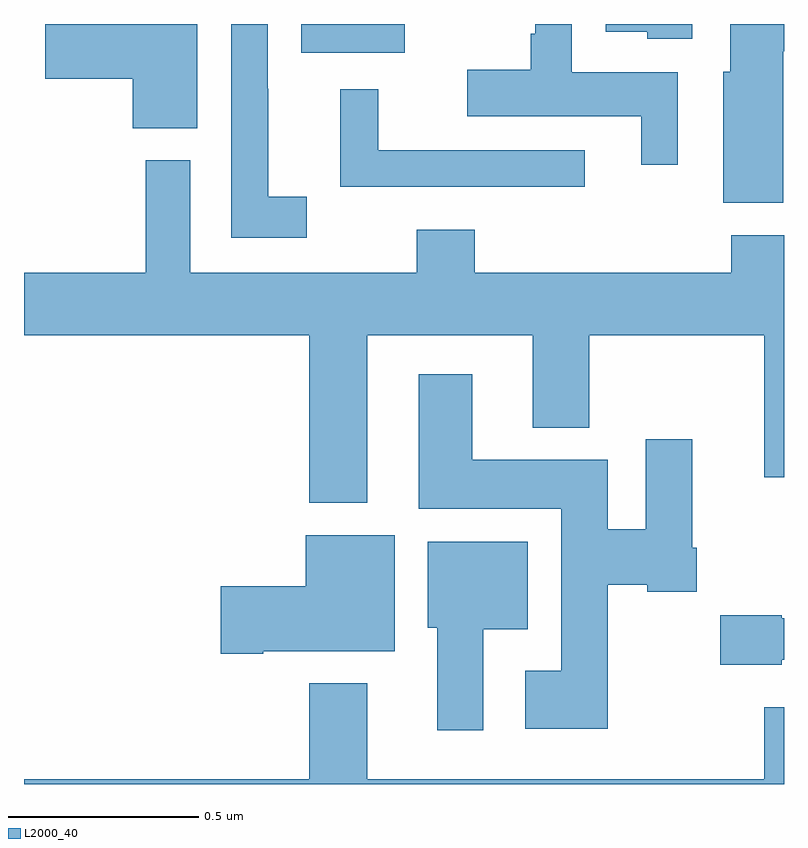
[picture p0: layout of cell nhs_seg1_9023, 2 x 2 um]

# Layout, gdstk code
import gdstk
lib = gdstk.Library(unit=1e-6, precision=1e-09)
def R(c, l, rs):  # rectangles x0, y0, x1, y1
    for r in rs: c.add(gdstk.rectangle(r[:2], r[2:], *l))
def P(c, l, *ps):  # polygons
    for p in ps: c.add(gdstk.Polygon(p, *l))
L2000_40 = (2000, 40)

nhs_seg1_9023 = lib.new_cell('nhs_seg1_9023')
R(nhs_seg1_9023, L2000_40, [(223.73,571.124,224.002,571.199)])
P(nhs_seg1_9023, L2000_40, [(224.721,571.072),(224.442,571.072),(224.442,571.199),(224.346,571.199),(224.346,571.174),(224.334,571.174),(224.334,571.078),(224.166,571.078),(224.166,570.956),(224.624,570.956),(224.624,570.828),(224.721,570.828)],
  [(223.744,570.745),(223.643,570.745),(223.643,571.028),(223.641,571.028),(223.641,571.199),(223.545,571.199),(223.545,570.636),(223.744,570.636)],
  [(223.456,571.199),(223.056,571.199),(223.056,571.055),(223.286,571.055),(223.286,570.925),(223.456,570.925)],
  [(224.998,571.127),(225,571.127),(225,571.199),(224.858,571.199),(224.858,571.074),(224.84,571.074),(224.84,570.728),(224.998,570.728)],
  [(224.758,571.199),(224.531,571.199),(224.531,571.178),(224.64,571.178),(224.64,571.16),(224.758,571.16)],
  [(224.476,570.867),(223.932,570.867),(223.932,571.027),(223.832,571.027),(223.832,570.771),(224.476,570.771)],
  [(223.903,570.38),(224.339,570.38),(224.339,570.137),(224.487,570.137),(224.487,570.38),(224.948,570.38),(224.948,570.006),(225,570.006),(225,570.643),(224.861,570.643),(224.861,570.544),(224.186,570.544),(224.186,570.658),(224.033,570.658),(224.033,570.544),(223.437,570.544),(223.437,570.84),(223.321,570.84),(223.321,570.544),(223,570.544),(223,570.38),(223.751,570.38),(223.751,569.939),(223.903,569.939)],
  [(224.536,569.723),(224.64,569.723),(224.64,569.705),(224.771,569.705),(224.771,569.821),(224.758,569.821),(224.758,570.106),(224.636,570.106),(224.636,569.87),(224.536,569.87),(224.536,570.052),(224.179,570.052),(224.179,570.277),(224.039,570.277),(224.039,569.924),(224.414,569.924),(224.414,569.497),(224.319,569.497),(224.319,569.345),(224.536,569.345)],
  [(223.63,569.549),(223.975,569.549),(223.975,569.854),(223.742,569.854),(223.742,569.72),(223.518,569.72),(223.518,569.542),(223.63,569.542)],
  [(224.209,569.606),(224.326,569.606),(224.326,569.836),(224.063,569.836),(224.063,569.61),(224.087,569.61),(224.087,569.34),(224.209,569.34)],
  [(224.994,569.526),(225,569.526),(225,569.635),(224.994,569.635),(224.994,569.643),(224.832,569.643),(224.832,569.513),(224.994,569.513)],
  [(225,569.401),(224.948,569.401),(224.948,569.212),(223.903,569.212),(223.903,569.464),(223.751,569.464),(223.751,569.212),(223,569.212),(223,569.199),(225,569.199)])

lib.write_gds('nhs_seg1_9023.gds')
